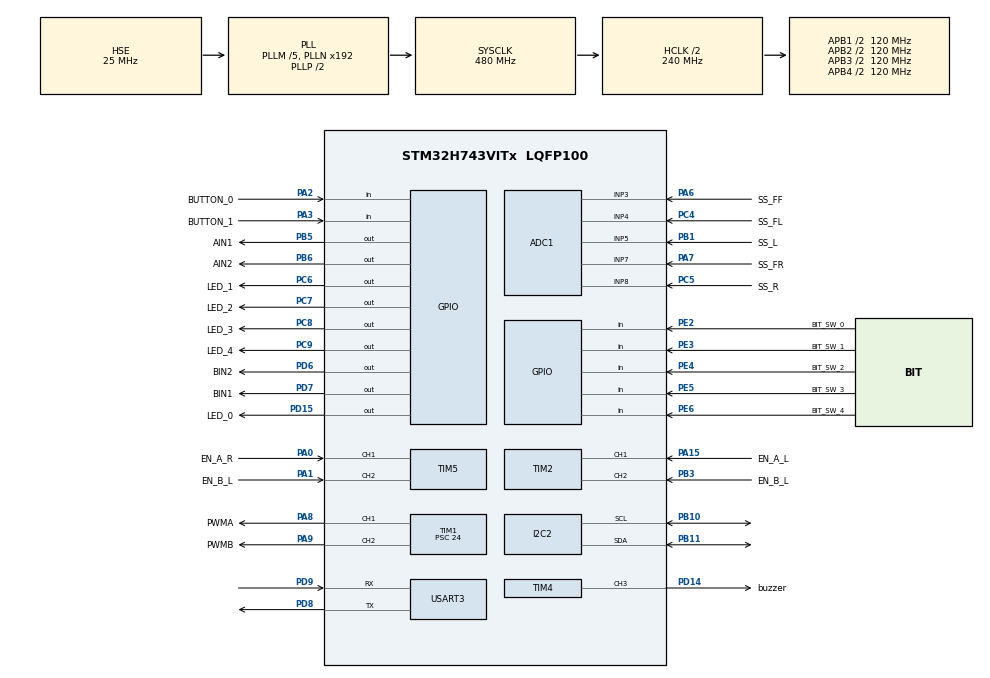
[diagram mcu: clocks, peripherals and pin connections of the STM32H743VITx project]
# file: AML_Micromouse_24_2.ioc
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ADC1.Channel-0\#ChannelRegularConversion=ADC_CHANNEL_3
ADC1.Channel-1\#ChannelRegularConversion=ADC_CHANNEL_7
ADC1.Channel-2\#ChannelRegularConversion=ADC_CHANNEL_4
ADC1.Channel-3\#ChannelRegularConversion=ADC_CHANNEL_8
ADC1.Channel-4\#ChannelRegularConversion=ADC_CHANNEL_5
ADC1.ClockPrescaler=ADC_CLOCK_ASYNC_DIV256
ADC1.ContinuousConvMode=ENABLE
ADC1.ConversionDataManagement=ADC_CONVERSIONDATA_DR
ADC1.EOCSelection=ADC_EOC_SINGLE_CONV
ADC1.NbrOfConversion=5
ADC1.NbrOfConversionFlag=1
ADC1.OffsetNumber-0\#ChannelRegularConversion=ADC_OFFSET_NONE
ADC1.OffsetNumber-1\#ChannelRegularConversion=ADC_OFFSET_NONE
ADC1.OffsetNumber-2\#ChannelRegularConversion=ADC_OFFSET_NONE
ADC1.OffsetNumber-3\#ChannelRegularConversion=ADC_OFFSET_NONE
ADC1.OffsetNumber-4\#ChannelRegularConversion=ADC_OFFSET_NONE
ADC1.OffsetSignedSaturation-0\#ChannelRegularConversion=DISABLE
ADC1.OffsetSignedSaturation-1\#ChannelRegularConversion=DISABLE
ADC1.OffsetSignedSaturation-2\#ChannelRegularConversion=DISABLE
ADC1.OffsetSignedSaturation-3\#ChannelRegularConversion=DISABLE
ADC1.OffsetSignedSaturation-4\#ChannelRegularConversion=DISABLE
ADC1.Overrun=ADC_OVR_DATA_OVERWRITTEN
ADC1.Rank-0\#ChannelRegularConversion=1
ADC1.Rank-1\#ChannelRegularConversion=2
ADC1.Rank-2\#ChannelRegularConversion=3
ADC1.Rank-3\#ChannelRegularConversion=4
ADC1.Rank-4\#ChannelRegularConversion=5
ADC1.SamplingTime-0\#ChannelRegularConversion=ADC_SAMPLETIME_64CYCLES_5
ADC1.SamplingTime-1\#ChannelRegularConversion=ADC_SAMPLETIME_64CYCLES_5
ADC1.SamplingTime-2\#ChannelRegularConversion=ADC_SAMPLETIME_64CYCLES_5
ADC1.SamplingTime-3\#ChannelRegularConversion=ADC_SAMPLETIME_64CYCLES_5
ADC1.SamplingTime-4\#ChannelRegularConversion=ADC_SAMPLETIME_64CYCLES_5
ADC1.master=1
CORTEX_M7.CPU_DCache=Disabled
CORTEX_M7.CPU_ICache=Disabled
CORTEX_M7.MPU_Control=MPU_PRIVILEGED_DEFAULT
CORTEX_M7.default_mode_Activation=1
Dma.Request0=USART3_RX
Dma.USART3_RX.0.Direction=DMA_PERIPH_TO_MEMORY
Dma.USART3_RX.0.EventEnable=DISABLE
Dma.USART3_RX.0.FIFOMode=DMA_FIFOMODE_DISABLE
Dma.USART3_RX.0.Instance=DMA1_Stream0
Dma.USART3_RX.0.MemDataAlignment=DMA_MDATAALIGN_BYTE
Dma.USART3_RX.0.MemInc=DMA_MINC_ENABLE
Dma.USART3_RX.0.Mode=DMA_NORMAL
Dma.USART3_RX.0.PeriphDataAlignment=DMA_PDATAALIGN_BYTE
Dma.USART3_RX.0.PeriphInc=DMA_PINC_DISABLE
Dma.USART3_RX.0.Polarity=HAL_DMAMUX_REQ_GEN_RISING
Dma.USART3_RX.0.Priority=DMA_PRIORITY_LOW
Dma.USART3_RX.0.RequestNumber=1
Dma.USART3_RX.0.SignalID=NONE
Dma.USART3_RX.0.SyncEnable=DISABLE
Dma.USART3_RX.0.SyncPolarity=HAL_DMAMUX_SYNC_NO_EVENT
Dma.USART3_RX.0.SyncRequestNumber=1
Dma.USART3_RX.0.SyncSignalID=NONE
I2C2.Timing=0x307075B1
Mcu.Family=STM32H7
Mcu.Name=STM32H743VITx
Mcu.Package=LQFP100
NVIC.ADC_IRQn=true\:0\:0\:true\:false\:true\:true\:true\:true
NVIC.DMA1_Stream0_IRQn=true\:1\:0\:true\:false\:true\:false\:true\:true
NVIC.PriorityGroup=NVIC_PRIORITYGROUP_4
NVIC.TIM7_IRQn=true\:2\:0\:true\:false\:true\:true\:true\:true
NVIC.USART3_IRQn=true\:0\:0\:true\:false\:true\:true\:true\:true
PA0.GPIO_Label=EN_A_R
PA0.Signal=S_TIM5_CH1
PA1.GPIO_Label=EN_B_L
PA1.Signal=S_TIM5_CH2
PA13\ (JTMS/SWDIO).Mode=Serial_Wire
PA13\ (JTMS/SWDIO).Signal=DEBUG_JTMS-SWDIO
PA14\ (JTCK/SWCLK).Mode=Serial_Wire
PA14\ (JTCK/SWCLK).Signal=DEBUG_JTCK-SWCLK
PA15\ (JTDI).GPIO_Label=EN_A_L
PA15\ (JTDI).Signal=S_TIM2_CH1_ETR
PA2.GPIO_Label=BUTTON_0
PA2.Signal=GPIO_Input
PA3.GPIO_Label=BUTTON_1
PA3.Signal=GPIO_Input
PA6.GPIO_Label=SS_FF
PA6.Signal=ADCx_INP3
PA7.GPIO_Label=SS_FR
PA7.Signal=ADCx_INP7
PA8.GPIO_Label=PWMA
PA8.Signal=S_TIM1_CH1
PA9.GPIO_Label=PWMB
PA9.Signal=S_TIM1_CH2
PB1.GPIO_Label=SS_L
PB1.Signal=ADCx_INP5
PB10.Mode=I2C
PB10.Signal=I2C2_SCL
PB11.Mode=I2C
PB11.Signal=I2C2_SDA
PB3\ (JTDO/TRACESWO).GPIO_Label=EN_B_L
PB3\ (JTDO/TRACESWO).Signal=S_TIM2_CH2
PB5.GPIO_Label=AIN1
PB5.Signal=GPIO_Output
PB6.GPIO_Label=AIN2
PB6.Signal=GPIO_Output
PC4.GPIO_Label=SS_FL
PC4.Signal=ADCx_INP4
PC5.GPIO_Label=SS_R
PC5.Signal=ADCx_INP8
PC6.GPIO_Label=LED_1
PC6.GPIO_PuPd=GPIO_NOPULL
PC6.Signal=GPIO_Output
PC7.GPIO_Label=LED_2
PC7.Signal=GPIO_Output
PC8.GPIO_Label=LED_3
PC8.Signal=GPIO_Output
PC9.GPIO_Label=LED_4
PC9.Signal=GPIO_Output
PD14.GPIO_Label=buzzer
PD14.Signal=S_TIM4_CH3
PD15.GPIO_Label=LED_0
PD15.Signal=GPIO_Output
PD6.GPIO_Label=BIN2
PD6.Signal=GPIO_Output
PD7.GPIO_Label=BIN1
PD7.Signal=GPIO_Output
PD8.Mode=Asynchronous
PD8.Signal=USART3_TX
PD9.Mode=Asynchronous
PD9.Signal=USART3_RX
PE2.GPIO_Label=BIT_SW_0
PE2.GPIO_PuPd=GPIO_PULLDOWN
PE2.Signal=GPIO_Input
PE3.GPIO_Label=BIT_SW_1
PE3.GPIO_PuPd=GPIO_PULLDOWN
PE3.Signal=GPIO_Input
PE4.GPIO_Label=BIT_SW_2
PE4.GPIO_PuPd=GPIO_PULLDOWN
PE4.Signal=GPIO_Input
PE5.GPIO_Label=BIT_SW_3
PE5.GPIO_PuPd=GPIO_PULLDOWN
PE5.Signal=GPIO_Input
PE6.GPIO_Label=BIT_SW_4
PE6.GPIO_PuPd=GPIO_PULLDOWN
PE6.Signal=GPIO_Input
PH0-OSC_IN\ (PH0).Mode=HSE-External-Oscillator
PH0-OSC_IN\ (PH0).Signal=RCC_OSC_IN
PH1-OSC_OUT\ (PH1).Mode=HSE-External-Oscillator
PH1-OSC_OUT\ (PH1).Signal=RCC_OSC_OUT
ProjectManager.HeapSize=0x200
ProjectManager.StackSize=0x400
ProjectManager.TargetToolchain=CMake
RAMECC.Instance-RAMECC1_Monitor1=RAMECC1_Monitor1
RAMECC.Instance-RAMECC1_Monitor2=RAMECC1_Monitor2
RAMECC.Instance-RAMECC1_Monitor3=RAMECC1_Monitor3
RAMECC.Instance-RAMECC1_Monitor4=RAMECC1_Monitor4
RAMECC.Instance-RAMECC1_Monitor5=RAMECC1_Monitor5
RAMECC.Instance-RAMECC2_Monitor1=RAMECC2_Monitor1
RAMECC.Instance-RAMECC2_Monitor2=RAMECC2_Monitor2
RAMECC.Instance-RAMECC2_Monitor3=RAMECC2_Monitor3
RAMECC.Instance-RAMECC2_Monitor4=RAMECC2_Monitor4
RAMECC.Instance-RAMECC2_Monitor5=RAMECC2_Monitor5
RAMECC.Instance-RAMECC3_Monitor1=RAMECC3_Monitor1
RAMECC.Instance-RAMECC3_Monitor2=RAMECC3_Monitor2
RCC.ADCFreq_Value=75000000
RCC.APB1Freq_Value=120000000
RCC.APB2Freq_Value=120000000
RCC.APB3Freq_Value=120000000
RCC.APB4Freq_Value=120000000
RCC.CortexFreq_Value=480000000
RCC.D1PPRE=RCC_APB3_DIV2
RCC.D2PPRE1=RCC_APB1_DIV2
RCC.D2PPRE2=RCC_APB2_DIV2
RCC.D3PPRE=RCC_APB4_DIV2
RCC.DIVM1=5
RCC.DIVM2=2
RCC.DIVN1=192
RCC.DIVN2=12
RCC.HCLKFreq_Value=240000000
RCC.HPRE=RCC_HCLK_DIV2
RCC.HSE_VALUE=25000000
RCC.PLL2FRACN=0
RCC.PLL3FRACN=0
RCC.PLLFRACN=0
RCC.PLLSourceVirtual=RCC_PLLSOURCE_HSE
RCC.SYSCLKFreq_VALUE=480000000
RCC.SYSCLKSource=RCC_SYSCLKSOURCE_PLLCLK
RCC.USBFreq_Value=480000000
SH.ADCx_INP3.0=ADC1_INP3,IN3-Single-Ended
SH.ADCx_INP4.0=ADC1_INP4,IN4-Single-Ended
SH.ADCx_INP5.0=ADC1_INP5,IN5-Single-Ended
SH.ADCx_INP7.0=ADC1_INP7,IN7-Single-Ended
SH.ADCx_INP8.0=ADC1_INP8,IN8-Single-Ended
SH.S_TIM1_CH1.0=TIM1_CH1,PWM Generation1 CH1
SH.S_TIM1_CH2.0=TIM1_CH2,PWM Generation2 CH2
SH.S_TIM2_CH1_ETR.0=TIM2_CH1,Encoder_Interface
SH.S_TIM2_CH2.0=TIM2_CH2,Encoder_Interface
SH.S_TIM4_CH3.0=TIM4_CH3,PWM Generation3 CH3
SH.S_TIM5_CH1.0=TIM5_CH1,Encoder_Interface
SH.S_TIM5_CH2.0=TIM5_CH2,Encoder_Interface
TIM1.AutoReloadPreload=TIM_AUTORELOAD_PRELOAD_ENABLE
TIM1.Channel-PWM\ Generation1\ CH1=TIM_CHANNEL_1
TIM1.Channel-PWM\ Generation2\ CH2=TIM_CHANNEL_2
TIM1.ClockDivision=TIM_CLOCKDIVISION_DIV2
TIM1.Period=999
TIM1.Prescaler=24
TIM2.IC1Polarity=TIM_ICPOLARITY_RISING
TIM2.IC2Polarity=TIM_ICPOLARITY_RISING
TIM4.AutoReloadPreload=TIM_AUTORELOAD_PRELOAD_ENABLE
TIM4.Channel-PWM\ Generation3\ CH3=TIM_CHANNEL_3
TIM4.ClockDivision=TIM_CLOCKDIVISION_DIV2
TIM4.OCMode_PWM-PWM\ Generation3\ CH3=TIM_OCMODE_PWM2
TIM4.Prescaler=2000
TIM5.IC1Filter=4
TIM5.IC2Filter=4
TIM7.AutoReloadPreload=TIM_AUTORELOAD_PRELOAD_ENABLE
TIM7.Period=199
TIM7.Prescaler=24000
USART3.VirtualMode-Asynchronous=VM_ASYNC
VP_MEMORYMAP_VS_MEMORYMAP.Mode=CurAppReg
VP_RAMECC_VS_D1_1.Mode=RAMECC1_Monitor1
VP_RAMECC_VS_D1_2.Mode=RAMECC1_Monitor2
VP_RAMECC_VS_D1_3.Mode=RAMECC1_Monitor3
VP_RAMECC_VS_D1_4.Mode=RAMECC1_Monitor4
VP_RAMECC_VS_D1_5.Mode=RAMECC1_Monitor5
VP_RAMECC_VS_D2_1.Mode=RAMECC2_Monitor1
VP_RAMECC_VS_D2_2.Mode=RAMECC2_Monitor2
VP_RAMECC_VS_D2_3.Mode=RAMECC2_Monitor3
VP_RAMECC_VS_D2_4.Mode=RAMECC2_Monitor4
VP_RAMECC_VS_D2_5.Mode=RAMECC2_Monitor5
VP_RAMECC_VS_D3_1.Mode=RAMECC3_Monitor1
VP_RAMECC_VS_D3_2.Mode=RAMECC3_Monitor2
VP_TIM1_VS_ClockSourceINT.Mode=Internal
VP_TIM4_VS_ClockSourceINT.Mode=Internal
VP_TIM7_VS_ClockSourceINT.Mode=Enable_Timer
board=custom

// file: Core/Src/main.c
/* USER CODE BEGIN Header */
/**
 ******************************************************************************
 * @file           : main.c
 * @brief          : Main program body
 ******************************************************************************
 * @attention
 *
 * Copyright (c) 2024 STMicroelectronics.
 * All rights reserved.
 *
 * This software is licensed under terms that can be found in the LICENSE file
 * in the root directory of this software component.
 * If no LICENSE file comes with this software, it is provided AS-IS.
 *
 ******************************************************************************
 */
/* USER CODE END Header */
#include "main.h"

/* USER CODE BEGIN Includes */
#include "SenSor.h"
#include "AML_GlobalVariable.h"
#include "AML_MPUSensor.h"
#include "AML_Buzzer.h"
#include "AML_LedDebug.h"
#include "AML_Switch.h"
#include "AML_MotorControl.h"
#include "AML_Encoder.h"
#include "AML_PID.h"
#include "solver.h"
#include "SenSor.h"

/* USER CODE END Includes */

ADC_HandleTypeDef hadc1;

I2C_HandleTypeDef hi2c2;

RAMECC_HandleTypeDef hramecc1_m1;
RAMECC_HandleTypeDef hramecc1_m2;
RAMECC_HandleTypeDef hramecc1_m3;
RAMECC_HandleTypeDef hramecc1_m4;
RAMECC_HandleTypeDef hramecc1_m5;
RAMECC_HandleTypeDef hramecc2_m1;
RAMECC_HandleTypeDef hramecc2_m2;
RAMECC_HandleTypeDef hramecc2_m3;
RAMECC_HandleTypeDef hramecc2_m4;
RAMECC_HandleTypeDef hramecc2_m5;
RAMECC_HandleTypeDef hramecc3_m1;
RAMECC_HandleTypeDef hramecc3_m2;

TIM_HandleTypeDef htim1;
TIM_HandleTypeDef htim2;
TIM_HandleTypeDef htim4;
TIM_HandleTypeDef htim5;
TIM_HandleTypeDef htim7;

UART_HandleTypeDef huart3;
DMA_HandleTypeDef hdma_usart3_rx;

/* USER CODE BEGIN PV */
double CurrentAngle = 0;
uint32_t frequency_test = 1000;
uint32_t leftEncoder = 0;
uint32_t rightEncoder = 0;
uint32_t pwm = 50;
uint32_t ADCrawbuffer[5];
int32_t EncoderGetRightValue = 0;
int32_t EncoderGetLeftValue = 0;
uint32_t debug[100];
uint8_t flagButton1 = 0;
uint8_t flagButton2 = 0;
uint8_t flagPriorityHeadingNorth = 0;
uint8_t flagPriorityHeadingEast =0;
uint8_t flagPriorityHeadingSouth = 0;
uint8_t flagPriorityHeadingWest = 0;

uint8_t khoang;
/* USER CODE END PV */

void SystemClock_Config(void);
static void MPU_Config(void);
static void MX_GPIO_Init(void);
static void MX_DMA_Init(void);
static void MX_RAMECC_Init(void);
static void MX_ADC1_Init(void);
static void MX_TIM1_Init(void);
static void MX_TIM2_Init(void);
static void MX_TIM5_Init(void);
static void MX_USART3_UART_Init(void);
static void MX_I2C2_Init(void);
static void MX_TIM4_Init(void);
static void MX_TIM7_Init(void);

/* USER CODE BEGIN 0 */
void RunNewAlgorithm()
{
  // debug_log("Running...");
if (flagPriorityHeadingNorth == 1)
{
  setPriorityHeading(NORTH);
}
else if (flagPriorityHeadingEast == 1)
{
  setPriorityHeading(EAST);
}
else if (flagPriorityHeadingSouth == 1)
{
  setPriorityHeading(SOUTH);
}
else if (flagPriorityHeadingWest == 1)
{
  setPriorityHeading(WEST);
}
else
{
  setPriorityHeading(NORTH);
}

  setPosition(0, 0, NORTH);
  initialize();

  // start the search
  searchRun();

  // reached the center, now calculate the shortest path
  markCenterWall();
  calculateShortestPathDistances();
  while (AML_Read_Button(SW_0) == 0)
  {
  }
  uint8_t delay =1000;
  while (HAL_GetTick() < delay)
  {
  }

  bool FlagUseHand = true;

  // use hand to move the mouse to the start position, and fin  d the shortest path
  // API_ackReset();
  setPosition(0, 0, NORTH);

  // reset mpu
  AML_MPUSensor_ResetAngle();

  // run the shortest path
  fastRunWithVariableVelocity();

  AML_Buzzer_PlaySong();
  while (FlagUseHand == true)
  {
    // run from the center to the start
    searchCenterToStart();

    // updateDistances();
    calculateShortestPathDistances();

    // run the shortest path
    fastRunWithVariableVelocity();
  }
}

/* USER CODE END 0 */

int main(void)
{

  /* MPU Configuration--------------------------------------------------------*/
  MPU_Config();

  /* MCU Configuration--------------------------------------------------------*/

  /* Reset of all peripherals, Initializes the Flash interface and the Systick. */
  HAL_Init();

  /* Configure the system clock */
  SystemClock_Config();

  /* USER CODE BEGIN SysInit */

  // AML_Buzzer_TurnOff();
  /* USER CODE END SysInit */

  /* Initialize all configured peripherals */
  MX_GPIO_Init();
  MX_DMA_Init();
  MX_RAMECC_Init();
  MX_ADC1_Init();
  MX_TIM1_Init();
  MX_TIM2_Init();
  MX_TIM5_Init();
  MX_USART3_UART_Init();
  MX_I2C2_Init();
  MX_TIM4_Init();
  MX_TIM7_Init();
  /* USER CODE BEGIN 2 */
  // AML_MPUSensor_ResetAngle();
  AML_MPUSensor_HardReset();
  AML_MPUSensor_Setup();
  AML_Encoder_Setup();
  AML_IRSensor_Setup();
  AML_MotorControl_Setup();
  AML_Buzzer_TurnOn();
  AML_Buzzer_Beep();
  for (int8_t i = 0; i < 2; i++)
  {
    for (int8_t j = 0; j < 5; j++)
    {
      AML_LedDebug_TurnOnLED(j);
      HAL_Delay(100);
      AML_LedDebug_TurnOffLED(j);
    }
  }

  /* USER CODE END 2 */

  /* Infinite loop */
  while (1)
  {

    /* USER CODE BEGIN 3 */
    // AML_Buzzer_PlaySong();

    if (AML_Read_BitSwitch(BIT_SW_0))
    {
      AML_MotorControl_MoveForwardOneCell();
      // AML_MotorControl_TurnLeft();
      // AML_MotorControl_TurnOnWallFollow();
      // AML_MotorControl_TurnRight();
    }
    else if (AML_Read_BitSwitch(BIT_SW_1))
    {
      LedDebug();
      // AML_MotorControl_GoStraghtWithMPU(0);
    }

    if (AML_Read_Button(SW_1))
    {
      AML_Buzzer_Beep();
      if (AML_Read_BitSwitch(BIT_SW_2))
      {
        // flagPriorityHeadingNorth = 1;
        flagPriorityHeadingEast = 1;

      }
      else if (AML_Read_BitSwitch(BIT_SW_3))
      {
        flagPriorityHeadingWest = 1;
      }

      RunNewAlgorithm();

      // AML_MotorControl_Stop();
      // AML_MotorControl_TurnOffWallFollow();
      // flagButton1 = 0;
    }
    // else if (AML_Read_Button(SW_0))
    // {
    //   AML_MPUSensor_ResetAngle();
    // }
    // else
    CurrentAngle = AML_MPUSensor_GetAngle();

    EncoderGetLeftValue = AML_Encoder_GetLeftValue();
    EncoderGetRightValue = AML_Encoder_GetRightValue();
    HAL_Delay(50);
  }
  /* USER CODE END 3 */
}

void SystemClock_Config(void)
{
  RCC_OscInitTypeDef RCC_OscInitStruct = {0};
  RCC_ClkInitTypeDef RCC_ClkInitStruct = {0};

  /** Supply configuration update enable
   */
  HAL_PWREx_ConfigSupply(PWR_LDO_SUPPLY);

  /** Configure the main internal regulator output voltage
   */
  __HAL_PWR_VOLTAGESCALING_CONFIG(PWR_REGULATOR_VOLTAGE_SCALE1);

  while (!__HAL_PWR_GET_FLAG(PWR_FLAG_VOSRDY))
  {
  }

  __HAL_RCC_SYSCFG_CLK_ENABLE();
  __HAL_PWR_VOLTAGESCALING_CONFIG(PWR_REGULATOR_VOLTAGE_SCALE0);

  while (!__HAL_PWR_GET_FLAG(PWR_FLAG_VOSRDY))
  {
  }

  /** Initializes the RCC Oscillators according to the specified parameters
   * in the RCC_OscInitTypeDef structure.
   */
  RCC_OscInitStruct.OscillatorType = RCC_OSCILLATORTYPE_HSE;
  RCC_OscInitStruct.HSEState = RCC_HSE_ON;
  RCC_OscInitStruct.PLL.PLLState = RCC_PLL_ON;
  RCC_OscInitStruct.PLL.PLLSource = RCC_PLLSOURCE_HSE;
  RCC_OscInitStruct.PLL.PLLM = 5;
  RCC_OscInitStruct.PLL.PLLN = 192;
  RCC_OscInitStruct.PLL.PLLP = 2;
  RCC_OscInitStruct.PLL.PLLQ = 2;
  RCC_OscInitStruct.PLL.PLLR = 2;
  RCC_OscInitStruct.PLL.PLLRGE = RCC_PLL1VCIRANGE_2;
  RCC_OscInitStruct.PLL.PLLVCOSEL = RCC_PLL1VCOWIDE;
  RCC_OscInitStruct.PLL.PLLFRACN = 0;
  if (HAL_RCC_OscConfig(&RCC_OscInitStruct) != HAL_OK)
  {
    Error_Handler();
  }

  /** Initializes the CPU, AHB and APB buses clocks
   */
  RCC_ClkInitStruct.ClockType = RCC_CLOCKTYPE_HCLK | RCC_CLOCKTYPE_SYSCLK | RCC_CLOCKTYPE_PCLK1 | RCC_CLOCKTYPE_PCLK2 | RCC_CLOCKTYPE_D3PCLK1 | RCC_CLOCKTYPE_D1PCLK1;
  RCC_ClkInitStruct.SYSCLKSource = RCC_SYSCLKSOURCE_PLLCLK;
  RCC_ClkInitStruct.SYSCLKDivider = RCC_SYSCLK_DIV1;
  RCC_ClkInitStruct.AHBCLKDivider = RCC_HCLK_DIV2;
  RCC_ClkInitStruct.APB3CLKDivider = RCC_APB3_DIV2;
  RCC_ClkInitStruct.APB1CLKDivider = RCC_APB1_DIV2;
  RCC_ClkInitStruct.APB2CLKDivider = RCC_APB2_DIV2;
  RCC_ClkInitStruct.APB4CLKDivider = RCC_APB4_DIV2;

  if (HAL_RCC_ClockConfig(&RCC_ClkInitStruct, FLASH_LATENCY_4) != HAL_OK)
  {
    Error_Handler();
  }
}

static void MX_ADC1_Init(void)
{

  ADC_MultiModeTypeDef multimode = {0};
  ADC_ChannelConfTypeDef sConfig = {0};

  /** Common config
   */
  hadc1.Instance = ADC1;
  hadc1.Init.ScanConvMode = ADC_SCAN_ENABLE;
  hadc1.Init.EOCSelection = ADC_EOC_SINGLE_CONV;
  hadc1.Init.LowPowerAutoWait = DISABLE;
  hadc1.Init.ContinuousConvMode = ENABLE;
  hadc1.Init.NbrOfConversion = 5;
  hadc1.Init.DiscontinuousConvMode = DISABLE;
  hadc1.Init.ExternalTrigConv = ADC_SOFTWARE_START;
  hadc1.Init.ExternalTrigConvEdge = ADC_EXTERNALTRIGCONVEDGE_NONE;
  hadc1.Init.ConversionDataManagement = ADC_CONVERSIONDATA_DR;
  hadc1.Init.Overrun = ADC_OVR_DATA_OVERWRITTEN;
  hadc1.Init.LeftBitShift = ADC_LEFTBITSHIFT_NONE;
  hadc1.Init.OversamplingMode = DISABLE;
  hadc1.Init.Oversampling.Ratio = 1;
  if (HAL_ADC_Init(&hadc1) != HAL_OK)
  {
    Error_Handler();
  }
  hadc1.Init.ClockPrescaler = ADC_CLOCK_ASYNC_DIV256;
  hadc1.Init.Resolution = ADC_RESOLUTION_16B;
  if (HAL_ADC_Init(&hadc1) != HAL_OK)
  {
    Error_Handler();
  }

  /** Configure the ADC multi-mode
   */
  multimode.Mode = ADC_MODE_INDEPENDENT;
  if (HAL_ADCEx_MultiModeConfigChannel(&hadc1, &multimode) != HAL_OK)
  {
    Error_Handler();
  }

  /** Configure Regular Channel
   */
  sConfig.Channel = ADC_CHANNEL_3;
  sConfig.Rank = ADC_REGULAR_RANK_1;
  sConfig.SamplingTime = ADC_SAMPLETIME_64CYCLES_5;
  sConfig.SingleDiff = ADC_SINGLE_ENDED;
  sConfig.OffsetNumber = ADC_OFFSET_NONE;
  sConfig.Offset = 0;
  sConfig.OffsetSignedSaturation = DISABLE;
  if (HAL_ADC_ConfigChannel(&hadc1, &sConfig) != HAL_OK)
  {
    Error_Handler();
  }

  /** Configure Regular Channel
   */
  sConfig.Channel = ADC_CHANNEL_7;
  sConfig.Rank = ADC_REGULAR_RANK_2;
  if (HAL_ADC_ConfigChannel(&hadc1, &sConfig) != HAL_OK)
  {
    Error_Handler();
  }

  /** Configure Regular Channel
   */
  sConfig.Channel = ADC_CHANNEL_4;
  sConfig.Rank = ADC_REGULAR_RANK_3;
  if (HAL_ADC_ConfigChannel(&hadc1, &sConfig) != HAL_OK)
  {
    Error_Handler();
  }

  /** Configure Regular Channel
   */
  sConfig.Channel = ADC_CHANNEL_8;
  sConfig.Rank = ADC_REGULAR_RANK_4;
  if (HAL_ADC_ConfigChannel(&hadc1, &sConfig) != HAL_OK)
  {
    Error_Handler();
  }

  /** Configure Regular Channel
   */
  sConfig.Channel = ADC_CHANNEL_5;
  sConfig.Rank = ADC_REGULAR_RANK_5;
  if (HAL_ADC_ConfigChannel(&hadc1, &sConfig) != HAL_OK)
  {
    Error_Handler();
  }
}

static void MX_I2C2_Init(void)
{

  hi2c2.Instance = I2C2;
  hi2c2.Init.Timing = 0x307075B1;
  hi2c2.Init.OwnAddress1 = 0;
  hi2c2.Init.AddressingMode = I2C_ADDRESSINGMODE_7BIT;
  hi2c2.Init.DualAddressMode = I2C_DUALADDRESS_DISABLE;
  hi2c2.Init.OwnAddress2 = 0;
  hi2c2.Init.OwnAddress2Masks = I2C_OA2_NOMASK;
  hi2c2.Init.GeneralCallMode = I2C_GENERALCALL_DISABLE;
  hi2c2.Init.NoStretchMode = I2C_NOSTRETCH_DISABLE;
  if (HAL_I2C_Init(&hi2c2) != HAL_OK)
  {
    Error_Handler();
  }

  /** Configure Analogue filter
   */
  if (HAL_I2CEx_ConfigAnalogFilter(&hi2c2, I2C_ANALOGFILTER_ENABLE) != HAL_OK)
  {
    Error_Handler();
  }

  /** Configure Digital filter
   */
  if (HAL_I2CEx_ConfigDigitalFilter(&hi2c2, 0) != HAL_OK)
  {
    Error_Handler();
  }
}

static void MX_RAMECC_Init(void)
{

  /** Initialize RAMECC1 M1 : AXI SRAM
   */
  hramecc1_m1.Instance = RAMECC1_Monitor1;
  if (HAL_RAMECC_Init(&hramecc1_m1) != HAL_OK)
  {
    Error_Handler();
  }

  /** Initialize RAMECC1 M2 : ITCM-RAM
   */
  hramecc1_m2.Instance = RAMECC1_Monitor2;
  if (HAL_RAMECC_Init(&hramecc1_m2) != HAL_OK)
  {
    Error_Handler();
  }

  /** Initialize RAMECC1 M3 : D0TCM-RAM
   */
  hramecc1_m3.Instance = RAMECC1_Monitor3;
  if (HAL_RAMECC_Init(&hramecc1_m3) != HAL_OK)
  {
    Error_Handler();
  }

  /** Initialize RAMECC1 M4 : D1TCM-RAM
   */
  hramecc1_m4.Instance = RAMECC1_Monitor4;
  if (HAL_RAMECC_Init(&hramecc1_m4) != HAL_OK)
  {
    Error_Handler();
  }

  /** Initialize RAMECC1 M5 : ETM RAM
   */
  hramecc1_m5.Instance = RAMECC1_Monitor5;
  if (HAL_RAMECC_Init(&hramecc1_m5) != HAL_OK)
  {
    Error_Handler();
  }

  /** Initialize RAMECC2 M1 : SRAM1_0
   */
  hramecc2_m1.Instance = RAMECC2_Monitor1;
  if (HAL_RAMECC_Init(&hramecc2_m1) != HAL_OK)
  {
    Error_Handler();
  }

  /** Initialize RAMECC2 M2 SRAM1_1
   */
  hramecc2_m2.Instance = RAMECC2_Monitor2;
  if (HAL_RAMECC_Init(&hramecc2_m2) != HAL_OK)
  {
    Error_Handler();
  }

  /** Initialize RAMECC2 M3 : SRAM2_0
   */
  hramecc2_m3.Instance = RAMECC2_Monitor3;
  if (HAL_RAMECC_Init(&hramecc2_m3) != HAL_OK)
  {
    Error_Handler();
  }

  /** Initialize RAMECC2 M4 : SRAM2_1
   */
  hramecc2_m4.Instance = RAMECC2_Monitor4;
  if (HAL_RAMECC_Init(&hramecc2_m4) != HAL_OK)
  {
    Error_Handler();
  }

  /** Initialize RAMECC2 M5 : SRAM3
   */
  hramecc2_m5.Instance = RAMECC2_Monitor5;
  if (HAL_RAMECC_Init(&hramecc2_m5) != HAL_OK)
  {
    Error_Handler();
  }

  /** Initialize RAMECC3 M1 : SRAM4
   */
  hramecc3_m1.Instance = RAMECC3_Monitor1;
  if (HAL_RAMECC_Init(&hramecc3_m1) != HAL_OK)
  {
    Error_Handler();
  }

  /** Initialize RAMECC3 M2 : Backup RAM
   */
  hramecc3_m2.Instance = RAMECC3_Monitor2;
  if (HAL_RAMECC_Init(&hramecc3_m2) != HAL_OK)
  {
    Error_Handler();
  }
}

static void MX_TIM1_Init(void)
{

  TIM_ClockConfigTypeDef sClockSourceConfig = {0};
  TIM_MasterConfigTypeDef sMasterConfig = {0};
  TIM_OC_InitTypeDef sConfigOC = {0};
  TIM_BreakDeadTimeConfigTypeDef sBreakDeadTimeConfig = {0};

  htim1.Instance = TIM1;
  htim1.Init.Prescaler = 24;
  htim1.Init.CounterMode = TIM_COUNTERMODE_UP;
  htim1.Init.Period = 999;
  htim1.Init.ClockDivision = TIM_CLOCKDIVISION_DIV2;
  htim1.Init.RepetitionCounter = 0;
  htim1.Init.AutoReloadPreload = TIM_AUTORELOAD_PRELOAD_ENABLE;
  if (HAL_TIM_Base_Init(&htim1) != HAL_OK)
  {
    Error_Handler();
  }
  sClockSourceConfig.ClockSource = TIM_CLOCKSOURCE_INTERNAL;
  if (HAL_TIM_ConfigClockSource(&htim1, &sClockSourceConfig) != HAL_OK)
  {
    Error_Handler();
  }
  if (HAL_TIM_PWM_Init(&htim1) != HAL_OK)
  {
    Error_Handler();
  }
  sMasterConfig.MasterOutputTrigger = TIM_TRGO_RESET;
  sMasterConfig.MasterOutputTrigger2 = TIM_TRGO2_RESET;
  sMasterConfig.MasterSlaveMode = TIM_MASTERSLAVEMODE_DISABLE;
  if (HAL_TIMEx_MasterConfigSynchronization(&htim1, &sMasterConfig) != HAL_OK)
  {
    Error_Handler();
  }
  sConfigOC.OCMode = TIM_OCMODE_PWM1;
  sConfigOC.Pulse = 0;
  sConfigOC.OCPolarity = TIM_OCPOLARITY_HIGH;
  sConfigOC.OCNPolarity = TIM_OCNPOLARITY_HIGH;
  sConfigOC.OCFastMode = TIM_OCFAST_DISABLE;
  sConfigOC.OCIdleState = TIM_OCIDLESTATE_RESET;
  sConfigOC.OCNIdleState = TIM_OCNIDLESTATE_RESET;
  if (HAL_TIM_PWM_ConfigChannel(&htim1, &sConfigOC, TIM_CHANNEL_1) != HAL_OK)
  {
    Error_Handler();
  }
  if (HAL_TIM_PWM_ConfigChannel(&htim1, &sConfigOC, TIM_CHANNEL_2) != HAL_OK)
  {
    Error_Handler();
  }
  sBreakDeadTimeConfig.OffStateRunMode = TIM_OSSR_DISABLE;
  sBreakDeadTimeConfig.OffStateIDLEMode = TIM_OSSI_DISABLE;
  sBreakDeadTimeConfig.LockLevel = TIM_LOCKLEVEL_OFF;
  sBreakDeadTimeConfig.DeadTime = 0;
  sBreakDeadTimeConfig.BreakState = TIM_BREAK_DISABLE;
  sBreakDeadTimeConfig.BreakPolarity = TIM_BREAKPOLARITY_HIGH;
  sBreakDeadTimeConfig.BreakFilter = 0;
  sBreakDeadTimeConfig.Break2State = TIM_BREAK2_DISABLE;
  sBreakDeadTimeConfig.Break2Polarity = TIM_BREAK2POLARITY_HIGH;
  sBreakDeadTimeConfig.Break2Filter = 0;
  sBreakDeadTimeConfig.AutomaticOutput = TIM_AUTOMATICOUTPUT_DISABLE;
  if (HAL_TIMEx_ConfigBreakDeadTime(&htim1, &sBreakDeadTimeConfig) != HAL_OK)
  {
    Error_Handler();
  }
  HAL_TIM_MspPostInit(&htim1);
}

static void MX_TIM2_Init(void)
{

  TIM_Encoder_InitTypeDef sConfig = {0};
  TIM_MasterConfigTypeDef sMasterConfig = {0};

  htim2.Instance = TIM2;
  htim2.Init.Prescaler = 0;
  htim2.Init.CounterMode = TIM_COUNTERMODE_UP;
  htim2.Init.Period = 4294967295;
  htim2.Init.ClockDivision = TIM_CLOCKDIVISION_DIV1;
  htim2.Init.AutoReloadPreload = TIM_AUTORELOAD_PRELOAD_DISABLE;
  sConfig.EncoderMode = TIM_ENCODERMODE_TI1;
  sConfig.IC1Polarity = TIM_ICPOLARITY_RISING;
  sConfig.IC1Selection = TIM_ICSELECTION_DIRECTTI;
  sConfig.IC1Prescaler = TIM_ICPSC_DIV1;
  sConfig.IC1Filter = 0;
  sConfig.IC2Polarity = TIM_ICPOLARITY_RISING;
  sConfig.IC2Selection = TIM_ICSELECTION_DIRECTTI;
  sConfig.IC2Prescaler = TIM_ICPSC_DIV1;
  sConfig.IC2Filter = 0;
  if (HAL_TIM_Encoder_Init(&htim2, &sConfig) != HAL_OK)
  {
    Error_Handler();
  }
  sMasterConfig.MasterOutputTrigger = TIM_TRGO_RESET;
  sMasterConfig.MasterSlaveMode = TIM_MASTERSLAVEMODE_DISABLE;
  if (HAL_TIMEx_MasterConfigSynchronization(&htim2, &sMasterConfig) != HAL_OK)
  {
    Error_Handler();
  }
}

static void MX_TIM4_Init(void)
{

  TIM_ClockConfigTypeDef sClockSourceConfig = {0};
  TIM_MasterConfigTypeDef sMasterConfig = {0};
  TIM_OC_InitTypeDef sConfigOC = {0};

  htim4.Instance = TIM4;
  htim4.Init.Prescaler = 2000;
  htim4.Init.CounterMode = TIM_COUNTERMODE_UP;
  htim4.Init.Period = 65535;
  htim4.Init.ClockDivision = TIM_CLOCKDIVISION_DIV2;
  htim4.Init.AutoReloadPreload = TIM_AUTORELOAD_PRELOAD_ENABLE;
  if (HAL_TIM_Base_Init(&htim4) != HAL_OK)
  {
    Error_Handler();
  }
  sClockSourceConfig.ClockSource = TIM_CLOCKSOURCE_INTERNAL;
  if (HAL_TIM_ConfigClockSource(&htim4, &sClockSourceConfig) != HAL_OK)
  {
    Error_Handler();
  }
  if (HAL_TIM_PWM_Init(&htim4) != HAL_OK)
  {
    Error_Handler();
  }
  sMasterConfig.MasterOutputTrigger = TIM_TRGO_RESET;
  sMasterConfig.MasterSlaveMode = TIM_MASTERSLAVEMODE_DISABLE;
  if (HAL_TIMEx_MasterConfigSynchronization(&htim4, &sMasterConfig) != HAL_OK)
  {
    Error_Handler();
  }
  sConfigOC.OCMode = TIM_OCMODE_PWM2;
  sConfigOC.Pulse = 0;
  sConfigOC.OCPolarity = TIM_OCPOLARITY_HIGH;
  sConfigOC.OCFastMode = TIM_OCFAST_DISABLE;
  if (HAL_TIM_PWM_ConfigChannel(&htim4, &sConfigOC, TIM_CHANNEL_3) != HAL_OK)
  {
    Error_Handler();
  }
  HAL_TIM_MspPostInit(&htim4);
}

static void MX_TIM5_Init(void)
{

  TIM_Encoder_InitTypeDef sConfig = {0};
  TIM_MasterConfigTypeDef sMasterConfig = {0};

  htim5.Instance = TIM5;
  htim5.Init.Prescaler = 0;
  htim5.Init.CounterMode = TIM_COUNTERMODE_UP;
  htim5.Init.Period = 4294967295;
  htim5.Init.ClockDivision = TIM_CLOCKDIVISION_DIV1;
  htim5.Init.AutoReloadPreload = TIM_AUTORELOAD_PRELOAD_DISABLE;
  sConfig.EncoderMode = TIM_ENCODERMODE_TI1;
  sConfig.IC1Polarity = TIM_ICPOLARITY_RISING;
  sConfig.IC1Selection = TIM_ICSELECTION_DIRECTTI;
  sConfig.IC1Prescaler = TIM_ICPSC_DIV1;
  sConfig.IC1Filter = 4;
  sConfig.IC2Polarity = TIM_ICPOLARITY_RISING;
  sConfig.IC2Selection = TIM_ICSELECTION_DIRECTTI;
  sConfig.IC2Prescaler = TIM_ICPSC_DIV1;
  sConfig.IC2Filter = 4;
  if (HAL_TIM_Encoder_Init(&htim5, &sConfig) != HAL_OK)
  {
    Error_Handler();
  }
  sMasterConfig.MasterOutputTrigger = TIM_TRGO_RESET;
  sMasterConfig.MasterSlaveMode = TIM_MASTERSLAVEMODE_DISABLE;
  if (HAL_TIMEx_MasterConfigSynchronization(&htim5, &sMasterConfig) != HAL_OK)
  {
    Error_Handler();
  }
}

static void MX_TIM7_Init(void)
{

  TIM_MasterConfigTypeDef sMasterConfig = {0};

  htim7.Instance = TIM7;
  htim7.Init.Prescaler = 24000;
  htim7.Init.CounterMode = TIM_COUNTERMODE_UP;
  htim7.Init.Period = 199;
  htim7.Init.AutoReloadPreload = TIM_AUTORELOAD_PRELOAD_ENABLE;
  if (HAL_TIM_Base_Init(&htim7) != HAL_OK)
  {
    Error_Handler();
  }
  sMasterConfig.MasterOutputTrigger = TIM_TRGO_RESET;
  sMasterConfig.MasterSlaveMode = TIM_MASTERSLAVEMODE_DISABLE;
  if (HAL_TIMEx_MasterConfigSynchronization(&htim7, &sMasterConfig) != HAL_OK)
  {
    Error_Handler();
  }
}

static void MX_USART3_UART_Init(void)
{

  huart3.Instance = USART3;
  huart3.Init.BaudRate = 115200;
  huart3.Init.WordLength = UART_WORDLENGTH_8B;
  huart3.Init.StopBits = UART_STOPBITS_1;
  huart3.Init.Parity = UART_PARITY_NONE;
  huart3.Init.Mode = UART_MODE_TX_RX;
  huart3.Init.HwFlowCtl = UART_HWCONTROL_NONE;
  huart3.Init.OverSampling = UART_OVERSAMPLING_16;
  huart3.Init.OneBitSampling = UART_ONE_BIT_SAMPLE_DISABLE;
  huart3.Init.ClockPrescaler = UART_PRESCALER_DIV1;
  huart3.AdvancedInit.AdvFeatureInit = UART_ADVFEATURE_NO_INIT;
  if (HAL_UART_Init(&huart3) != HAL_OK)
  {
    Error_Handler();
  }
  if (HAL_UARTEx_SetTxFifoThreshold(&huart3, UART_TXFIFO_THRESHOLD_1_8) != HAL_OK)
  {
    Error_Handler();
  }
  if (HAL_UARTEx_SetRxFifoThreshold(&huart3, UART_RXFIFO_THRESHOLD_1_8) != HAL_OK)
  {
    Error_Handler();
  }
  if (HAL_UARTEx_DisableFifoMode(&huart3) != HAL_OK)
  {
    Error_Handler();
  }
}

static void MX_DMA_Init(void)
{

  /* DMA controller clock enable */
  __HAL_RCC_DMA1_CLK_ENABLE();

  /* DMA interrupt init */
  /* DMA1_Stream0_IRQn interrupt configuration */
  HAL_NVIC_SetPriority(DMA1_Stream0_IRQn, 1, 0);
  HAL_NVIC_EnableIRQ(DMA1_Stream0_IRQn);
}

static void MX_GPIO_Init(void)
{
  GPIO_InitTypeDef GPIO_InitStruct = {0};

  /* GPIO Ports Clock Enable */
  __HAL_RCC_GPIOE_CLK_ENABLE();
  __HAL_RCC_GPIOH_CLK_ENABLE();
  __HAL_RCC_GPIOA_CLK_ENABLE();
  __HAL_RCC_GPIOC_CLK_ENABLE();
  __HAL_RCC_GPIOB_CLK_ENABLE();
  __HAL_RCC_GPIOD_CLK_ENABLE();

  /*Configure GPIO pin Output Level */
  HAL_GPIO_WritePin(GPIOD, LED_0_Pin | BIN2_Pin | BIN1_Pin, GPIO_PIN_RESET);

  /*Configure GPIO pin Output Level */
  HAL_GPIO_WritePin(GPIOC, LED_1_Pin | LED_2_Pin | LED_3_Pin | LED_4_Pin, GPIO_PIN_RESET);

  /*Configure GPIO pin Output Level */
  HAL_GPIO_WritePin(GPIOB, AIN1_Pin | AIN2_Pin, GPIO_PIN_RESET);

  /*Configure GPIO pins : BIT_SW_0_Pin BIT_SW_1_Pin BIT_SW_2_Pin BIT_SW_3_Pin
                           BIT_SW_4_Pin */
  GPIO_InitStruct.Pin = BIT_SW_0_Pin | BIT_SW_1_Pin | BIT_SW_2_Pin | BIT_SW_3_Pin | BIT_SW_4_Pin;
  GPIO_InitStruct.Mode = GPIO_MODE_INPUT;
  GPIO_InitStruct.Pull = GPIO_PULLDOWN;
  HAL_GPIO_Init(GPIOE, &GPIO_InitStruct);

  /*Configure GPIO pins : BUTTON_0_Pin BUTTON_1_Pin */
  GPIO_InitStruct.Pin = BUTTON_0_Pin | BUTTON_1_Pin;
  GPIO_InitStruct.Mode = GPIO_MODE_INPUT;
  GPIO_InitStruct.Pull = GPIO_NOPULL;
  HAL_GPIO_Init(GPIOA, &GPIO_InitStruct);

  /*Configure GPIO pins : LED_0_Pin BIN2_Pin BIN1_Pin */
  GPIO_InitStruct.Pin = LED_0_Pin | BIN2_Pin | BIN1_Pin;
  GPIO_InitStruct.Mode = GPIO_MODE_OUTPUT_PP;
  GPIO_InitStruct.Pull = GPIO_NOPULL;
  GPIO_InitStruct.Speed = GPIO_SPEED_FREQ_LOW;
  HAL_GPIO_Init(GPIOD, &GPIO_InitStruct);

  /*Configure GPIO pins : LED_1_Pin LED_2_Pin LED_3_Pin LED_4_Pin */
  GPIO_InitStruct.Pin = LED_1_Pin | LED_2_Pin | LED_3_Pin | LED_4_Pin;
  GPIO_InitStruct.Mode = GPIO_MODE_OUTPUT_PP;
  GPIO_InitStruct.Pull = GPIO_NOPULL;
  GPIO_InitStruct.Speed = GPIO_SPEED_FREQ_LOW;
  HAL_GPIO_Init(GPIOC, &GPIO_InitStruct);

  /*Configure GPIO pins : AIN1_Pin AIN2_Pin */
  GPIO_InitStruct.Pin = AIN1_Pin | AIN2_Pin;
  GPIO_InitStruct.Mode = GPIO_MODE_OUTPUT_PP;
  GPIO_InitStruct.Pull = GPIO_NOPULL;
  GPIO_InitStruct.Speed = GPIO_SPEED_FREQ_LOW;
  HAL_GPIO_Init(GPIOB, &GPIO_InitStruct);

}

/* MPU Configuration */

void MPU_Config(void)
{
  MPU_Region_InitTypeDef MPU_InitStruct = {0};

  /* Disables the MPU */
  HAL_MPU_Disable();

  /** Initializes and configures the Region and the memory to be protected
   */
  MPU_InitStruct.Enable = MPU_REGION_ENABLE;
  MPU_InitStruct.Number = MPU_REGION_NUMBER0;
  MPU_InitStruct.BaseAddress = 0x0;
  MPU_InitStruct.Size = MPU_REGION_SIZE_4GB;
  MPU_InitStruct.SubRegionDisable = 0x87;
  MPU_InitStruct.TypeExtField = MPU_TEX_LEVEL0;
  MPU_InitStruct.AccessPermission = MPU_REGION_NO_ACCESS;
  MPU_InitStruct.DisableExec = MPU_INSTRUCTION_ACCESS_DISABLE;
  MPU_InitStruct.IsShareable = MPU_ACCESS_SHAREABLE;
  MPU_InitStruct.IsCacheable = MPU_ACCESS_NOT_CACHEABLE;
  MPU_InitStruct.IsBufferable = MPU_ACCESS_NOT_BUFFERABLE;

  HAL_MPU_ConfigRegion(&MPU_InitStruct);
  /* Enables the MPU */
  HAL_MPU_Enable(MPU_PRIVILEGED_DEFAULT);
}

void Error_Handler(void)
{
  __disable_irq();
  while (1)
  {
  }
}
